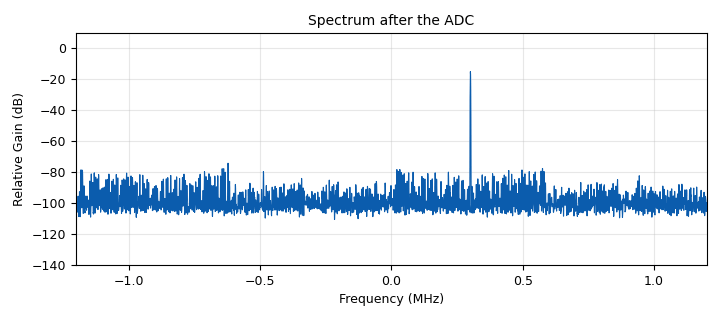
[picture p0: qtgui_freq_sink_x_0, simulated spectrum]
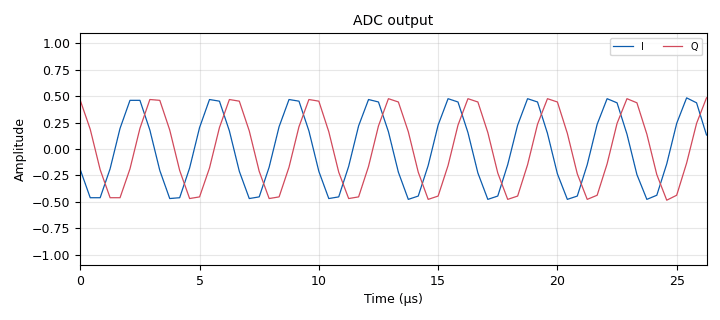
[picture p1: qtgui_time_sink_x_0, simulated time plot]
options:
  parameters:
    author: ECE 448
    description: 'L4: a strong and a weak tone through a simulated ADC. Change the bits and the gain to see the converter noise floor and clipping.'
    generate_options: qt_gui
    id: L04_adc_bits
    output_language: python
    title: L4 - ADC Bits and Dynamic Range
  states: {}

blocks:
- name: bits
  id: variable_qtgui_chooser
  parameters:
    gui_hint: 0,0,1,1
    label: ADC bits
    label0: 8 bits (RTL-SDR, HackRF)
    label1: 12 bits (PlutoSDR)
    label2: 16 bits
    num_opts: '3'
    option0: '8'
    option1: '12'
    option2: '16'
    type: int
    value: '8'
  states: {}
- name: gain_db
  id: variable_qtgui_range
  parameters:
    gui_hint: 0,1,1,1
    label: Gain (dB)
    start: '-12'
    step: '1'
    stop: '18'
    value: '0'
  states: {}
- name: samp_rate
  id: variable
  parameters:
    value: 2.4e6
  states: {}
- name: weak_db
  id: variable_qtgui_range
  parameters:
    gui_hint: 0,2,1,1
    label: Weak signal (dBFS at 0 dB gain)
    start: '-100'
    step: '1'
    stop: '-20'
    value: '-70'
  states: {}
- name: adc
  id: epy_block
  parameters:
    _source_code: |
      """ADC: clips I and Q to full scale (-1 to +1) and rounds each one to one of
      2**bits levels, the way an analog-to-digital converter does. Values above full
      scale stay at the top level, which is clipping."""

      import numpy as np
      from gnuradio import gr


      class blk(gr.sync_block):
          def __init__(self, bits=8):
              gr.sync_block.__init__(self, name='ADC', in_sig=[np.complex64],
                                     out_sig=[np.complex64])
              self.bits = bits

          def work(self, input_items, output_items):
              x = input_items[0]
              levels = 2.0 ** (int(self.bits) - 1)

              def quantize(v):
                  v = np.clip(v, -1.0, 1.0 - 1.0 / levels)
                  return np.round(v * levels) / levels

              output_items[0][:] = quantize(x.real) + 1j * quantize(x.imag)
              return len(x)
    bits: bits
  states: {}
- name: blocks_add_xx_0
  id: blocks_add_xx
  parameters:
    num_inputs: '3'
    type: complex
  states: {}
- name: blocks_throttle_0
  id: blocks_throttle2
  parameters:
    samples_per_second: samp_rate
    type: complex
  states: {}
- name: gain
  id: blocks_multiply_const_vxx
  parameters:
    const: 10**(gain_db/20)
    type: complex
  states: {}
- name: noise
  id: analog_noise_source_x
  parameters:
    amp: '3e-5'
    noise_type: analog.GR_GAUSSIAN
    seed: '0'
    type: complex
  states: {}
- name: qtgui_freq_sink_x_0
  id: qtgui_freq_sink_x
  parameters:
    average: '0.1'
    bw: samp_rate
    fc: '0'
    fftsize: '4096'
    grid: 'True'
    gui_hint: 1,0,1,2
    legend: 'False'
    name: '"Spectrum after the ADC"'
    type: complex
  states: {}
- name: qtgui_time_sink_x_0
  id: qtgui_time_sink_x
  parameters:
    entags: 'False'
    grid: 'True'
    gui_hint: 1,2,1,1
    label1: I
    label2: Q
    name: '"ADC output"'
    size: '64'
    srate: samp_rate
    type: complex
    ymax: '1.1'
    ymin: '-1.1'
  states: {}
- name: strong
  id: analog_sig_source_x
  parameters:
    amp: '0.5'
    freq: 300.7e3
    offset: '0'
    phase: '0'
    samp_rate: samp_rate
    type: complex
    waveform: analog.GR_COS_WAVE
  states: {}
- name: weak
  id: analog_sig_source_x
  parameters:
    amp: 10**(weak_db/20)
    freq: '-487.3e3'
    offset: '0'
    phase: '0'
    samp_rate: samp_rate
    type: complex
    waveform: analog.GR_COS_WAVE
  states: {}

connections:
- [adc, '0', qtgui_freq_sink_x_0, '0']
- [adc, '0', qtgui_time_sink_x_0, '0']
- [blocks_add_xx_0, '0', gain, '0']
- [blocks_throttle_0, '0', adc, '0']
- [gain, '0', blocks_throttle_0, '0']
- [noise, '0', blocks_add_xx_0, '2']
- [strong, '0', blocks_add_xx_0, '0']
- [weak, '0', blocks_add_xx_0, '1']

metadata:
  file_format: 1
  grc_version: 3.10.9.2
